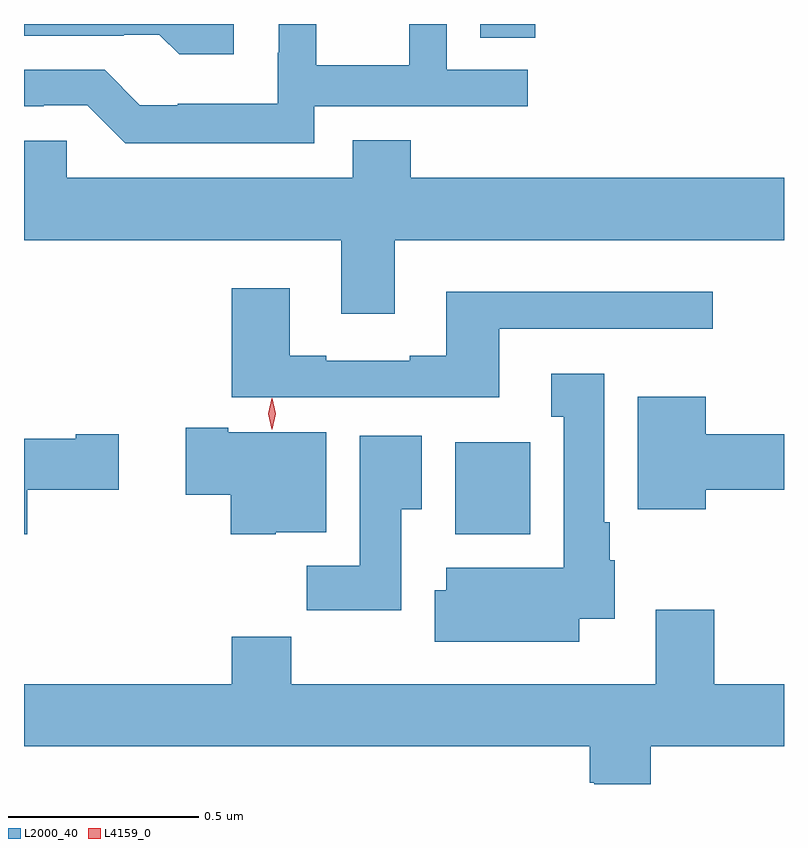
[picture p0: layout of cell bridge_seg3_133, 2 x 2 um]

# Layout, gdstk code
import gdstk
lib = gdstk.Library(unit=1e-6, precision=1e-09)
def R(c, l, rs):  # rectangles x0, y0, x1, y1
    for r in rs: c.add(gdstk.rectangle(r[:2], r[2:], *l))
def P(c, l, *ps):  # polygons
    for p in ps: c.add(gdstk.Polygon(p, *l))
L2000_40 = (2000, 40)
L4159_0 = (4159, 0)

bridge_seg3_133 = lib.new_cell('bridge_seg3_133')
R(bridge_seg3_133, L2000_40, [(175.499,676.166,175.696,676.408), (175.565,677.473,175.709,677.509)])
P(bridge_seg3_133, L2000_40, [(174.916,677.509),(174.364,677.509),(174.364,677.478),(174.626,677.478),(174.626,677.481),(174.72,677.481),(174.772,677.429),(174.916,677.429)],
  [(175.128,677.292),(175.69,677.292),(175.69,677.388),(175.476,677.388),(175.476,677.509),(175.378,677.509),(175.378,677.401),(175.133,677.401),(175.133,677.509),(175.034,677.509),(175.034,677.433),(175.032,677.433),(175.032,677.299),(174.769,677.299),(174.769,677.295),(174.669,677.295),(174.576,677.388),(174.364,677.388),(174.364,677.292),(174.416,677.292),(174.416,677.295),(174.531,677.295),(174.631,677.195),(175.128,677.195)],
  [(175.339,676.94),(176.364,676.94),(176.364,677.104),(175.382,677.104),(175.382,677.203),(175.229,677.203),(175.229,677.104),(174.477,677.104),(174.477,677.202),(174.364,677.202),(174.364,676.94),(175.199,676.94),(175.199,676.746),(175.339,676.746)],
  [(175.615,676.707),(176.176,676.707),(176.176,676.804),(175.475,676.804),(175.475,676.636),(175.379,676.636),(175.379,676.623),(175.159,676.623),(175.159,676.636),(175.063,676.636),(175.063,676.813),(174.911,676.813),(174.911,676.527),(175.615,676.527)],
  [(175.825,675.944),(175.918,675.944),(175.918,676.098),(175.906,676.098),(175.906,676.198),(175.891,676.198),(175.891,676.588),(175.751,676.588),(175.751,676.475),(175.784,676.475),(175.784,676.078),(175.475,676.078),(175.475,676.019),(175.445,676.019),(175.445,675.884),(175.825,675.884)],
  [(176.158,676.283),(176.364,676.283),(176.364,676.43),(176.158,676.43),(176.158,676.528),(175.979,676.528),(175.979,676.232),(176.158,676.232)],
  [(175.026,676.172),(175.159,676.172),(175.159,676.435),(174.901,676.435),(174.901,676.447),(174.789,676.447),(174.789,676.27),(174.908,676.27),(174.908,676.166),(175.026,676.166)],
  [(174.372,676.283),(174.613,676.283),(174.613,676.43),(174.5,676.43),(174.5,676.417),(174.364,676.417),(174.364,676.166),(174.372,676.166)],
  [(175.357,676.232),(175.411,676.232),(175.411,676.426),(175.247,676.426),(175.247,676.084),(175.108,676.084),(175.108,675.966),(175.357,675.966)],
  [(176.013,675.608),(176.364,675.608),(176.364,675.772),(176.18,675.772),(176.18,675.967),(176.027,675.967),(176.027,675.772),(175.067,675.772),(175.067,675.896),(174.911,675.896),(174.911,675.772),(174.364,675.772),(174.364,675.608),(175.853,675.608),(175.853,675.512),(175.865,675.512),(175.865,675.509),(176.013,675.509)])
P(bridge_seg3_133, L4159_0, [(175.016,676.442),(175.007,676.483),(175.016,676.524),(175.017,676.524),(175.017,676.524),(175.027,676.483),(175.017,676.442),(175.017,676.442)])

lib.write_gds('bridge_seg3_133.gds')
